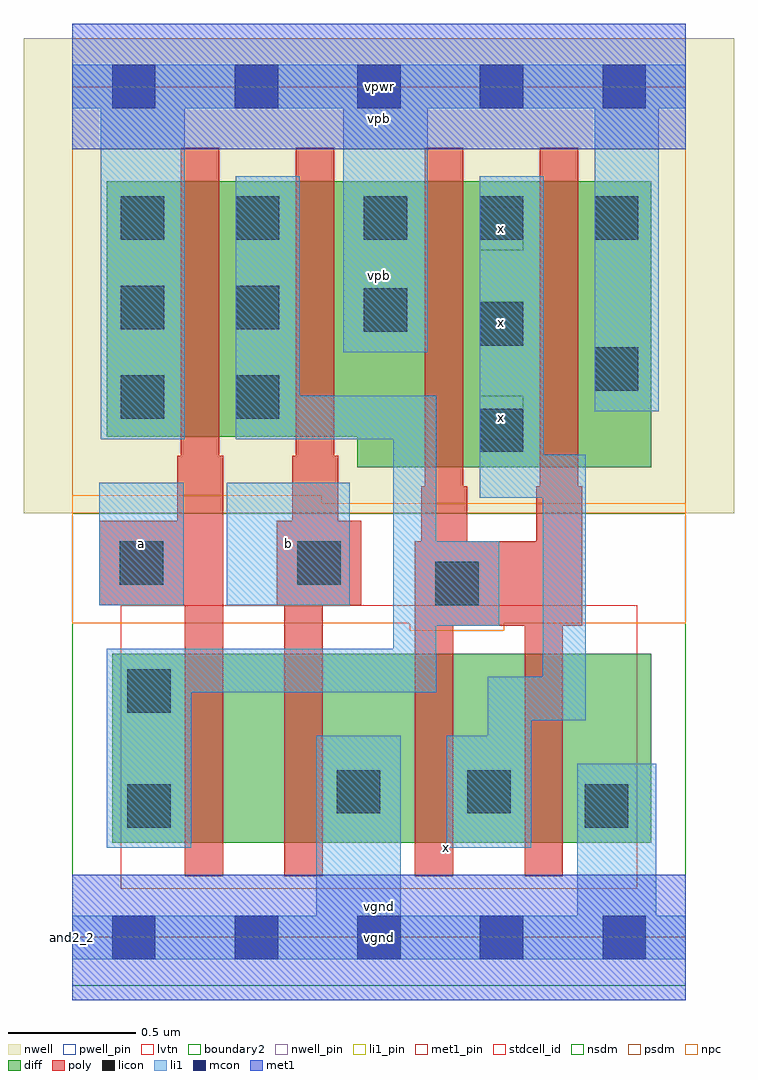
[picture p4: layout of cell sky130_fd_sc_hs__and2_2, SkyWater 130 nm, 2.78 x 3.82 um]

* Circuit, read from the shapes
.subckt sky130_fd_sc_hs__and2_2 a b vgnd vnb vpb vpwr x
XM1 n1 a n2 vnb sky130_fd_pr__nfet_01v8_lvt w=0.74 l=0.15
XM2 vgnd b n1 vnb sky130_fd_pr__nfet_01v8_lvt w=0.74 l=0.15
XM3 x n2 vgnd vnb sky130_fd_pr__nfet_01v8_lvt w=0.74 l=0.15 m=2
XM4 n2 a vpwr vpb sky130_fd_pr__pfet_01v8 w=1 l=0.15
XM5 vpwr b n2 vpb sky130_fd_pr__pfet_01v8 w=1 l=0.15
XM6 x n2 vpwr vpb sky130_fd_pr__pfet_01v8 w=1.12 l=0.15 m=2
.ends

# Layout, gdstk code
import gdstk
lib = gdstk.Library(unit=1e-6, precision=1e-09)
def R(c, l, rs):  # rectangles x0, y0, x1, y1
    for r in rs: c.add(gdstk.rectangle(r[:2], r[2:], *l))
def A(c, l, x, y, w, h, nx, ny, dx, dy):  # array of equal rectangles
    R(c, l, [(x+i*dx, y+j*dy, x+i*dx+w, y+j*dy+h) for i in range(nx) for j in range(ny)])
def P(c, l, *ps):  # polygons
    for p in ps: c.add(gdstk.Polygon(p, *l))
nwell_pin = (64, 16)
nwell = (64, 20)
diff = (65, 20)
poly = (66, 20)
licon = (66, 44)
li1_pin = (67, 16)
li1 = (67, 20)
mcon = (67, 44)
met1_pin = (68, 16)
met1 = (68, 20)
stdcell_id = (81, 4)
nsdm = (93, 44)
psdm = (94, 20)
npc = (95, 20)
pwell_pin = (122, 16)
lvtn = (125, 44)
boundary2 = (236, 0)

sky130_fd_sc_hs__and2_2 = lib.new_cell('sky130_fd_sc_hs__and2_2')
R(sky130_fd_sc_hs__and2_2, nwell_pin, [(0,3.085,2.4,3.33)])
R(sky130_fd_sc_hs__and2_2, nwell, [(-0.19,1.66,2.59,3.52)])
R(sky130_fd_sc_hs__and2_2, diff, [(0.155,0.37,2.265,1.11)])
P(sky130_fd_sc_hs__and2_2, diff, [(1.115,1.84),(1.115,1.96),(0.135,1.96),(0.135,2.96),(2.265,2.96),(2.265,1.84)])
P(sky130_fd_sc_hs__and2_2, poly, [(1.34,0.24),(1.34,1.55),(1.365,1.55),(1.365,1.765),(1.38,1.765),(1.38,3.09),(1.53,3.09),(1.53,1.765),(1.545,1.765),(1.545,1.55),(1.815,1.55),(1.815,1.765),(1.83,1.765),(1.83,3.09),(1.98,3.09),(1.98,1.765),(1.995,1.765),(1.995,1.22),(1.92,1.22),(1.92,0.24),(1.77,0.24),(1.77,1.22),(1.49,1.22),(1.49,0.24)],
  [(0.83,0.24),(0.83,1.3),(0.8,1.3),(0.8,1.63),(0.86,1.63),(0.86,1.885),(0.875,1.885),(0.875,3.09),(1.025,3.09),(1.025,1.885),(1.04,1.885),(1.04,1.63),(1.13,1.63),(1.13,1.3),(0.98,1.3),(0.98,0.24)],
  [(0.44,0.24),(0.44,1.3),(0.105,1.3),(0.105,1.63),(0.41,1.63),(0.41,1.885),(0.425,1.885),(0.425,3.09),(0.575,3.09),(0.575,1.885),(0.59,1.885),(0.59,0.24)])
A(sky130_fd_sc_hs__and2_2, licon, 1.595, 1.9, 0.17, 0.17, 1, 3, 0, 0.415)
A(sky130_fd_sc_hs__and2_2, licon, 0.19, 2.03, 0.17, 0.17, 1, 3, 0, 0.35)
A(sky130_fd_sc_hs__and2_2, licon, 0.64, 2.03, 0.17, 0.17, 1, 3, 0, 0.35)
R(sky130_fd_sc_hs__and2_2, licon, [(0.215,0.43,0.385,0.6), (2.005,0.43,2.175,0.6), (1.035,0.485,1.205,0.655), (1.545,0.485,1.715,0.655), (0.215,0.88,0.385,1.05), (1.42,1.3,1.59,1.47), (0.185,1.38,0.355,1.55), (0.88,1.38,1.05,1.55), (2.045,2.14,2.215,2.31), (1.14,2.37,1.31,2.54), (1.14,2.73,1.31,2.9), (2.045,2.73,2.215,2.9)])
A(sky130_fd_sc_hs__and2_2, li1_pin, 1.595, 1.95, 0.17, 0.17, 1, 3, 0, 0.37)
R(sky130_fd_sc_hs__and2_2, li1_pin, [(0.105,1.3,0.435,1.78), (0.605,1.3,1.085,1.78)])
R(sky130_fd_sc_hs__and2_2, li1, [(0.105,1.3,0.435,1.78), (0.605,1.3,1.085,1.78)])
P(sky130_fd_sc_hs__and2_2, li1, [(0,-0.085),(0,0.085),(0.955,0.085),(0.955,0.79),(1.285,0.79),(1.285,0.085),(1.975,0.085),(1.975,0.68),(2.285,0.68),(2.285,0.085),(2.4,0.085),(2.4,-0.085)],
  [(0.11,1.95),(0.11,3.245),(0,3.245),(0,3.415),(2.4,3.415),(2.4,3.245),(2.295,3.245),(2.295,2.06),(2.045,2.06),(2.045,3.245),(1.39,3.245),(1.39,2.29),(1.06,2.29),(1.06,3.245),(0.44,3.245),(0.44,1.95)],
  [(1.465,0.35),(1.465,0.79),(1.625,0.79),(1.625,1.02),(1.84,1.02),(1.84,1.72),(1.595,1.72),(1.595,2.98),(1.845,2.98),(1.845,1.89),(2.01,1.89),(2.01,0.85),(1.795,0.85),(1.795,0.35)],
  [(0.135,0.35),(0.135,1.13),(1.255,1.13),(1.255,1.95),(0.64,1.95),(0.64,2.98),(0.89,2.98),(0.89,2.12),(1.425,2.12),(1.425,1.55),(1.67,1.55),(1.67,1.22),(1.425,1.22),(1.425,0.96),(0.465,0.96),(0.465,0.35)])
A(sky130_fd_sc_hs__and2_2, mcon, 0.155, -0.085, 0.17, 0.17, 5, 2, 0.48, 3.33)
R(sky130_fd_sc_hs__and2_2, met1_pin, [(0,0,2.4,0.245), (0,3.085,2.4,3.33)])
R(sky130_fd_sc_hs__and2_2, met1, [(0,-0.245,2.4,0.245), (0,3.085,2.4,3.575)])
R(sky130_fd_sc_hs__and2_2, stdcell_id, [(0,0,2.4,3.33)])
R(sky130_fd_sc_hs__and2_2, nsdm, [(0,-0.19,2.4,1.66)])
R(sky130_fd_sc_hs__and2_2, psdm, [(0,1.66,2.4,3.52)])
P(sky130_fd_sc_hs__and2_2, npc, [(1.32,1.2),(1.32,1.23),(0,1.23),(0,1.73),(0.975,1.73),(0.975,1.7),(2.4,1.7),(2.4,1.23),(1.69,1.23),(1.69,1.2)])
R(sky130_fd_sc_hs__and2_2, pwell_pin, [(0,0,2.4,0.245)])
R(sky130_fd_sc_hs__and2_2, lvtn, [(0.19,0.19,2.21,1.3)])
R(sky130_fd_sc_hs__and2_2, boundary2, [(0,0,2.4,3.33)])
sky130_fd_sc_hs__and2_2.add(gdstk.Label('vpb', (1.2,3.207), layer=64, texttype=16))
sky130_fd_sc_hs__and2_2.add(gdstk.Label('vpb', (1.2,2.59), layer=64, texttype=16))
sky130_fd_sc_hs__and2_2.add(gdstk.Label('vpwr', (1.2,3.207), layer=68, texttype=16))
sky130_fd_sc_hs__and2_2.add(gdstk.Label('vgnd', (1.2,0.122), layer=68, texttype=16))
sky130_fd_sc_hs__and2_2.add(gdstk.Label('vgnd', (1.2,0), layer=68, texttype=16))
sky130_fd_sc_hs__and2_2.add(gdstk.Label('vpwr', (1.2,3.33), layer=68, texttype=16))
sky130_fd_sc_hs__and2_2.add(gdstk.Label('a', (0.27,1.54), layer=67, texttype=16))
sky130_fd_sc_hs__and2_2.add(gdstk.Label('b', (0.845,1.54), layer=67, texttype=16))
sky130_fd_sc_hs__and2_2.add(gdstk.Label('x', (1.68,2.035), layer=67, texttype=16))
sky130_fd_sc_hs__and2_2.add(gdstk.Label('x', (1.68,2.405), layer=67, texttype=16))
sky130_fd_sc_hs__and2_2.add(gdstk.Label('x', (1.68,2.775), layer=67, texttype=16))
sky130_fd_sc_hs__and2_2.add(gdstk.Label('x', (1.465,0.351), layer=67, texttype=16))
sky130_fd_sc_hs__and2_2.add(gdstk.Label('a', (0.27,1.54), layer=67, texttype=16))
sky130_fd_sc_hs__and2_2.add(gdstk.Label('b', (0.845,1.54), layer=67, texttype=16))
sky130_fd_sc_hs__and2_2.add(gdstk.Label('and2_2', (0,0), layer=83, texttype=44))
sky130_fd_sc_hs__and2_2.add(gdstk.Label('vnb', (1.2,0.123), layer=64, texttype=59))

lib.write_gds('sky130_fd_sc_hs__and2_2.gds')
